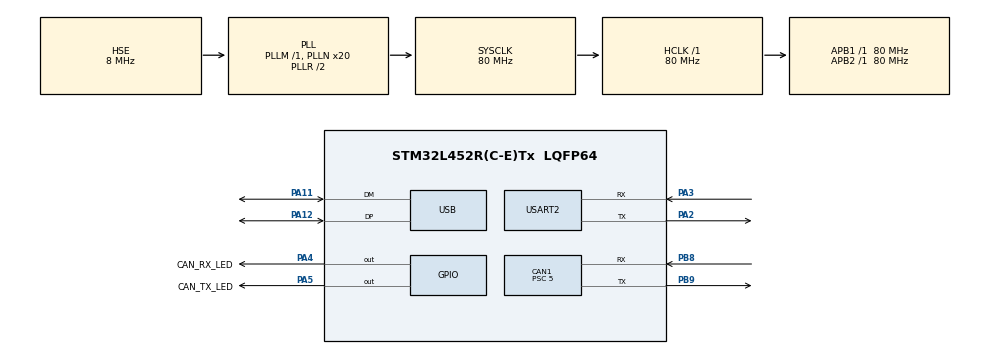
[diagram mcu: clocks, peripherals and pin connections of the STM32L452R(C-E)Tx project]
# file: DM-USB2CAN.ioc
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CAN1.BS1=CAN_BS1_13TQ
CAN1.BS2=CAN_BS2_2TQ
CAN1.CalculateBaudRate=1000000
CAN1.CalculateTimeBit=1000
CAN1.CalculateTimeQuantum=62.5
CAN1.NART=ENABLE
CAN1.Prescaler=5
Dma.Request0=USART2_TX
Dma.Request1=USART2_RX
Dma.USART2_RX.1.Direction=DMA_PERIPH_TO_MEMORY
Dma.USART2_RX.1.Instance=DMA1_Channel6
Dma.USART2_RX.1.MemDataAlignment=DMA_MDATAALIGN_BYTE
Dma.USART2_RX.1.MemInc=DMA_MINC_ENABLE
Dma.USART2_RX.1.Mode=DMA_CIRCULAR
Dma.USART2_RX.1.PeriphDataAlignment=DMA_PDATAALIGN_BYTE
Dma.USART2_RX.1.PeriphInc=DMA_PINC_DISABLE
Dma.USART2_RX.1.Priority=DMA_PRIORITY_MEDIUM
Dma.USART2_TX.0.Direction=DMA_MEMORY_TO_PERIPH
Dma.USART2_TX.0.Instance=DMA1_Channel7
Dma.USART2_TX.0.MemDataAlignment=DMA_MDATAALIGN_BYTE
Dma.USART2_TX.0.MemInc=DMA_MINC_ENABLE
Dma.USART2_TX.0.Mode=DMA_NORMAL
Dma.USART2_TX.0.PeriphDataAlignment=DMA_PDATAALIGN_BYTE
Dma.USART2_TX.0.PeriphInc=DMA_PINC_DISABLE
Dma.USART2_TX.0.Priority=DMA_PRIORITY_HIGH
Mcu.Family=STM32L4
Mcu.Name=STM32L452R(C-E)Tx
Mcu.Package=LQFP64
NVIC.CAN1_RX0_IRQn=true\:2\:0\:true\:false\:true\:true\:true\:true
NVIC.CAN1_TX_IRQn=true\:3\:0\:true\:false\:true\:true\:true\:true
NVIC.DMA1_Channel6_IRQn=true\:0\:0\:false\:false\:true\:false\:true\:true
NVIC.DMA1_Channel7_IRQn=true\:2\:0\:true\:false\:true\:false\:true\:true
NVIC.PriorityGroup=NVIC_PRIORITYGROUP_4
NVIC.USART2_IRQn=true\:1\:0\:true\:false\:true\:true\:true\:true
NVIC.USB_IRQn=true\:1\:0\:true\:false\:true\:false\:true\:true
PA11.Mode=Device
PA11.Signal=USB_DM
PA12.Mode=Device
PA12.Signal=USB_DP
PA13\ (JTMS/SWDIO).Mode=Serial_Wire
PA13\ (JTMS/SWDIO).Signal=SYS_JTMS-SWDIO
PA14\ (JTCK/SWCLK).Mode=Serial_Wire
PA14\ (JTCK/SWCLK).Signal=SYS_JTCK-SWCLK
PA2.GPIO_PuPd=GPIO_PULLUP
PA2.Mode=Asynchronous
PA2.Signal=USART2_TX
PA3.GPIO_ModeDefaultPP=GPIO_MODE_AF_PP
PA3.GPIO_PuPd=GPIO_PULLUP
PA3.Mode=Asynchronous
PA3.Signal=USART2_RX
PA4.GPIO_Label=CAN_RX_LED
PA4.GPIO_PuPd=GPIO_PULLUP
PA4.GPIO_Speed=GPIO_SPEED_FREQ_VERY_HIGH
PA4.PinState=GPIO_PIN_SET
PA4.Signal=GPIO_Output
PA5.GPIO_Label=CAN_TX_LED
PA5.GPIO_PuPd=GPIO_PULLUP
PA5.GPIO_Speed=GPIO_SPEED_FREQ_VERY_HIGH
PA5.PinState=GPIO_PIN_SET
PA5.Signal=GPIO_Output
PB8.GPIO_PuPd=GPIO_PULLUP
PB8.Mode=CAN_Activate
PB8.Signal=CAN1_RX
PB9.GPIO_PuPd=GPIO_PULLUP
PB9.Mode=CAN_Activate
PB9.Signal=CAN1_TX
PC14-OSC32_IN\ (PC14).Mode=LSE-External-Oscillator
PC14-OSC32_IN\ (PC14).Signal=RCC_OSC32_IN
PC15-OSC32_OUT\ (PC15).Mode=LSE-External-Oscillator
PC15-OSC32_OUT\ (PC15).Signal=RCC_OSC32_OUT
PH0-OSC_IN\ (PH0).Mode=HSE-External-Oscillator
PH0-OSC_IN\ (PH0).Signal=RCC_OSC_IN
PH1-OSC_OUT\ (PH1).Mode=HSE-External-Oscillator
PH1-OSC_OUT\ (PH1).Signal=RCC_OSC_OUT
ProjectManager.HeapSize=0x1000
ProjectManager.StackSize=0x1000
ProjectManager.TargetToolchain=STM32CubeIDE
RCC.ADCFreq_Value=32000000
RCC.AHBFreq_Value=80000000
RCC.APB1Freq_Value=80000000
RCC.APB1TimFreq_Value=80000000
RCC.APB2Freq_Value=80000000
RCC.APB2TimFreq_Value=80000000
RCC.CK48CLockSelection=RCC_USBCLKSOURCE_HSI48
RCC.CortexFreq_Value=80000000
RCC.HCLKFreq_Value=80000000
RCC.HSE_VALUE=8000000
RCC.HSI48_VALUE=48000000
RCC.HSI_VALUE=16000000
RCC.MSI_VALUE=4000000
RCC.PLLN=20
RCC.PLLSourceVirtual=RCC_PLLSOURCE_HSE
RCC.SYSCLKFreq_VALUE=80000000
RCC.SYSCLKSource=RCC_SYSCLKSOURCE_PLLCLK
RCC.USBFreq_Value=48000000
RCC.VCOOutputFreq_Value=160000000
USART2.VirtualMode-Asynchronous=VM_ASYNC
USB_DEVICE.CLASS_NAME_FS=CDC
USB_DEVICE.VirtualMode=Cdc
USB_DEVICE.VirtualModeFS=Cdc_FS
VP_USB_DEVICE_VS_USB_DEVICE_CDC_FS.Mode=CDC_FS
board=custom

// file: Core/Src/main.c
/* USER CODE BEGIN Header */
/**
  ******************************************************************************
  * @file           : main.c
  * @brief          : Main program body
  ******************************************************************************
  * @attention
  *
  * Copyright (c) 2025 STMicroelectronics.
  * All rights reserved.
  *
  * This software is licensed under terms that can be found in the LICENSE file
  * in the root directory of this software component.
  * If no LICENSE file comes with this software, it is provided AS-IS.
  *
  ******************************************************************************
  */
/* USER CODE END Header */
#include "main.h"
#include "dma.h"
#include "usart.h"
#include "gpio.h"

/* USER CODE BEGIN Includes */
#include "can.h"
#include "dm_protocol.h"
#include "usb_device.h"
#include "usbd_cdc_if.h"
/* USER CODE END Includes */

void SystemClock_Config(void);

int main(void)
{

  /* MCU Configuration--------------------------------------------------------*/

  /* Reset of all peripherals, Initializes the Flash interface and the Systick. */
  HAL_Init();

  /* Configure the system clock */
  SystemClock_Config();

  /* Initialize all configured peripherals */
  MX_GPIO_Init();
  MX_DMA_Init();
  MX_USART2_UART_Init();
  /* USER CODE BEGIN 2 */
  MX_CAN1_Init();
  MX_USB_DEVICE_Init();

  static uint8_t rxBuffer[2048];
  uint32_t rxLength = 0;

  uint32_t startTime = HAL_GetTick();

  /* USER CODE END 2 */

  /* Infinite loop */
  /* USER CODE BEGIN WHILE */
  while (1)
  {
    if (g_send_times)
    {
      if (HAL_GetTick() - startTime > g_send_time_gap)
      {
        DM_USB_SendCAN_Message();
        --g_send_times;
        startTime = HAL_GetTick();
      }
    }
    /* USER CODE END WHILE */

    /* USER CODE BEGIN 3 */
    rxLength = UART_Read(rxBuffer, sizeof(rxBuffer));
    if (rxLength > 0)
    {
      CDC_Transmit_FS(rxBuffer, rxLength);
    }
    UART_TxSend();

  }
  /* USER CODE END 3 */
}

void SystemClock_Config(void)
{
  RCC_OscInitTypeDef RCC_OscInitStruct = {0};
  RCC_ClkInitTypeDef RCC_ClkInitStruct = {0};

  /** Configure the main internal regulator output voltage
  */
  if (HAL_PWREx_ControlVoltageScaling(PWR_REGULATOR_VOLTAGE_SCALE1) != HAL_OK)
  {
    Error_Handler();
  }

  /** Initializes the RCC Oscillators according to the specified parameters
  * in the RCC_OscInitTypeDef structure.
  */
  RCC_OscInitStruct.OscillatorType = RCC_OSCILLATORTYPE_HSI48 | RCC_OSCILLATORTYPE_HSE;
  RCC_OscInitStruct.HSEState = RCC_HSE_ON;
  RCC_OscInitStruct.HSI48State = RCC_HSI48_ON;
  RCC_OscInitStruct.PLL.PLLState = RCC_PLL_ON;
  RCC_OscInitStruct.PLL.PLLSource = RCC_PLLSOURCE_HSE;
  RCC_OscInitStruct.PLL.PLLM = 1;
  RCC_OscInitStruct.PLL.PLLN = 20;
  RCC_OscInitStruct.PLL.PLLP = RCC_PLLP_DIV7;
  RCC_OscInitStruct.PLL.PLLQ = RCC_PLLQ_DIV2;
  RCC_OscInitStruct.PLL.PLLR = RCC_PLLR_DIV2;
  if (HAL_RCC_OscConfig(&RCC_OscInitStruct) != HAL_OK)
  {
    Error_Handler();
  }

  /** Initializes the CPU, AHB and APB buses clocks
  */
  RCC_ClkInitStruct.ClockType = RCC_CLOCKTYPE_HCLK | RCC_CLOCKTYPE_SYSCLK
      | RCC_CLOCKTYPE_PCLK1 | RCC_CLOCKTYPE_PCLK2;
  RCC_ClkInitStruct.SYSCLKSource = RCC_SYSCLKSOURCE_PLLCLK;
  RCC_ClkInitStruct.AHBCLKDivider = RCC_SYSCLK_DIV1;
  RCC_ClkInitStruct.APB1CLKDivider = RCC_HCLK_DIV1;
  RCC_ClkInitStruct.APB2CLKDivider = RCC_HCLK_DIV1;

  if (HAL_RCC_ClockConfig(&RCC_ClkInitStruct, FLASH_LATENCY_4) != HAL_OK)
  {
    Error_Handler();
  }
}

/* USER CODE BEGIN 4 */

int __io_putchar(int ch)
{
  while ((USART2->ISR & UART_FLAG_TC) == RESET)
  {
  }

  USART2->TDR = (uint8_t)ch;
  return ch;
}

int __io_getchar(void)
{
  while ((USART2->ISR & UART_FLAG_RXNE) == RESET)
  {
  }

  return (int)USART2->RDR;
}

/* USER CODE END 4 */

void Error_Handler(void)
{
  __disable_irq();
  while (1)
  {
  }
}
